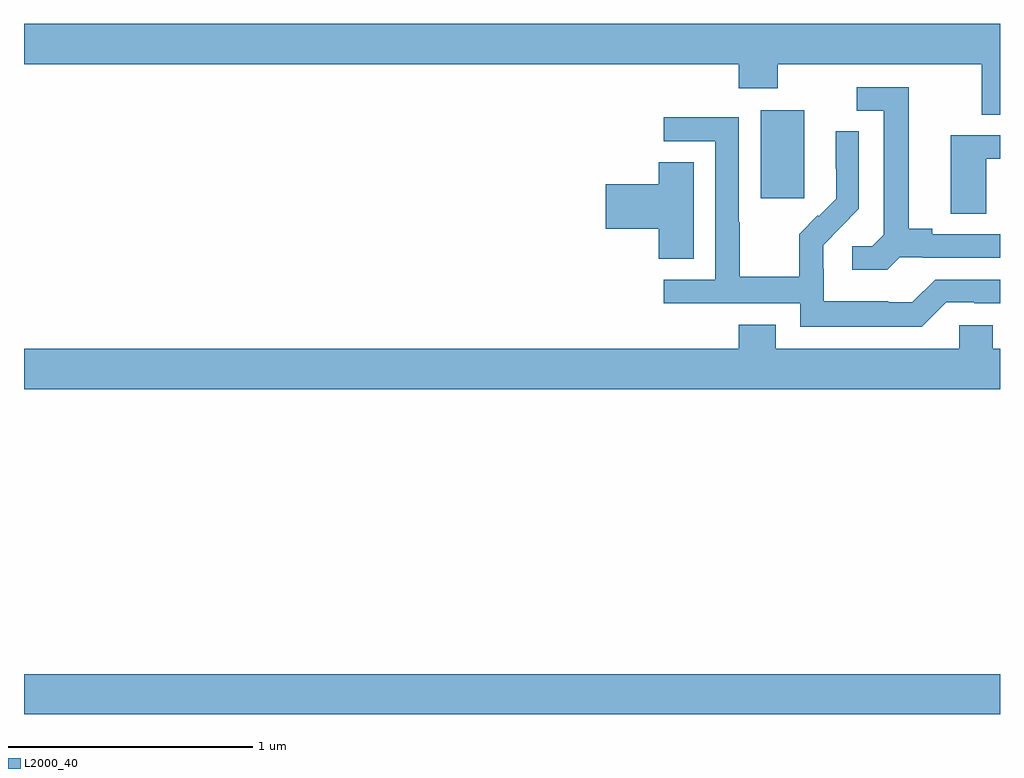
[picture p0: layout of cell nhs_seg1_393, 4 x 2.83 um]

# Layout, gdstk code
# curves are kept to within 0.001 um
import gdstk
lib = gdstk.Library(unit=1e-6, precision=1e-09)
def R(c, l, rs):  # rectangles x0, y0, x1, y1
    for r in rs: c.add(gdstk.rectangle(r[:2], r[2:], *l))
def P(c, l, *ps):  # polygons
    for p in ps: c.add(gdstk.Polygon(p, *l))
L2000_40 = (2000, 40)

nhs_seg1_393 = lib.new_cell('nhs_seg1_393')
R(nhs_seg1_393, L2000_40, [(133,518.432,137,518.596), (136.019,520.545,136.198,520.906)])
P(nhs_seg1_393, L2000_40, [(137,521.26),(133,521.26),(133,521.096),(135.929,521.096),(135.929,520.997),(136.089,520.997),(136.089,521.096),(136.925,521.096),(136.925,520.888),(137,520.888)],
  [(136.59,520.305),(136.684,520.305),(136.684,520.302),(137,520.302),(137,520.398),(136.723,520.398),(136.723,520.421),(136.627,520.421),(136.627,521.001),(136.413,521.001),(136.413,520.905),(136.523,520.905),(136.523,520.397),(136.476,520.35),(136.395,520.35),(136.395,520.253),(136.538,520.253)],
  [(136.779,520.119),(136.895,520.119),(136.895,520.116),(137,520.116),(137,520.212),(136.734,520.212),(136.641,520.119),(136.541,520.119),(136.541,520.123),(136.278,520.123),(136.278,520.257),(136.276,520.257),(136.276,520.354),(136.422,520.502),(136.422,520.82),(136.326,520.82),(136.326,520.666),(136.328,520.666),(136.328,520.544),(136.257,520.473),(136.254,520.476),(136.177,520.399),(136.177,520.225),(135.933,520.225),(135.933,520.448),(135.93,520.448),(135.93,520.878),(135.621,520.878),(135.621,520.779),(135.834,520.779),(135.834,520.212),(135.621,520.212),(135.621,520.116),(136.182,520.116),(136.182,520.019),(136.679,520.019)],
  [(136.944,520.707),(137,520.707),(137,520.803),(136.799,520.803),(136.799,520.483),(136.944,520.483)],
  [(135.745,520.694),(135.602,520.694),(135.602,520.604),(135.384,520.604),(135.384,520.421),(135.602,520.421),(135.602,520.297),(135.745,520.297)],
  [(137,519.928),(136.971,519.928),(136.971,520.026),(136.833,520.026),(136.833,519.928),(136.081,519.928),(136.081,520.027),(135.929,520.027),(135.929,519.928),(133,519.928),(133,519.764),(137,519.764)])

lib.write_gds('nhs_seg1_393.gds')
